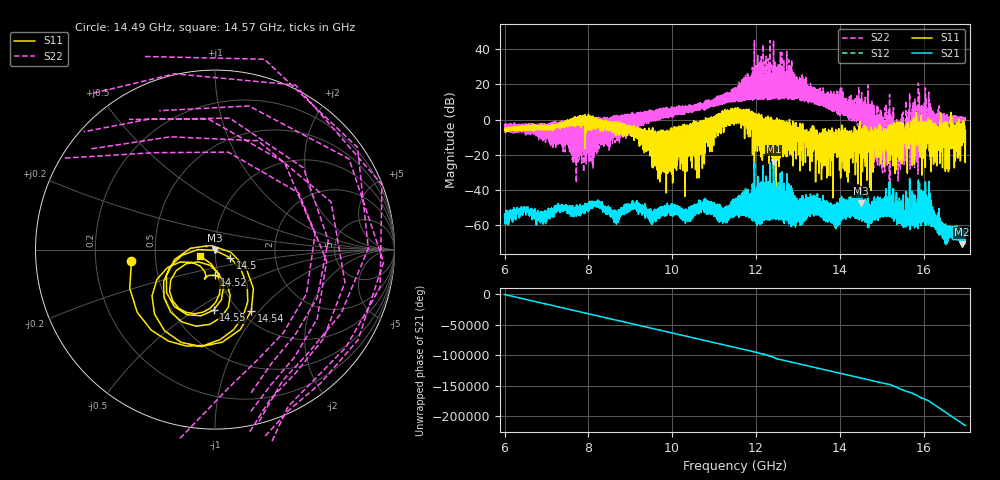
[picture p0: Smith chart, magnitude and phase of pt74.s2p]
#  HZ  S  RI  R  50.00
! Rohde & Schwarz Vector Network Analyzer
! Rohde-Schwarz,ZNA67-2Port,1332450062101215,3.01
! Created: UTC 10/16/2026, 2:22:52 PM
! freq[Hz]  re:S11  im:S11  re:S21  im:S21  re:S12  im:S12  re:S22  im:S22
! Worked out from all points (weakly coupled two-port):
!   11001 points, 6 GHz to 17 GHz, reference 50 ohm
!   highest |S21| = -23.82 dB at 12.42 GHz (marker M1); lowest = -70.7 dB at 16.91 GHz (marker M2)
!   lowest |S11| = -47.5 dB at 14.5 GHz (marker M3), VSWR 1.01, Z = 50 - j0.422 ohm
!   |S11| at or under -10 dB: 13.52806 GHz to 13.56834 GHz (40.28 MHz wide, 0.297 % of centre); 13.61183 GHz to 13.64771 GHz (35.88 MHz wide, 0.263 % of centre); 13.93448 GHz to 13.96266 GHz (28.18 MHz wide, 0.202 % of centre) (the widest 3 of 482)
!   |S22| runs from -39.2 to 44.9 dB; largest |S21 - S12| = 0.0034
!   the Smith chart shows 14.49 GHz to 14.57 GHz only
!   S11 on the Smith chart (normalised r, x): 14.49 GHz: 0.36, -0.06; 14.5 GHz: 1.18, -0.11; 14.52 GHz: 0.96, -0.28; 14.54 GHz: 1.12, -0.90; 14.55 GHz: 0.78, -0.60; 14.57 GHz: 0.84, -0.06
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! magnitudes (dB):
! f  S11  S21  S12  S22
! 6 GHz  -5.7  -53.5  -53.6  -3.6
! 7.834 GHz  -1.0  -50.9  -50.9  -0.2
! 9.667 GHz  -7.0  -52.3  -52.5  5.6
! 11.5 GHz  6.5  -51.3  -51.3  12.2
! 12.42 GHz  -14.2  -23.8  -23.7  44.9
! 13.33 GHz  -9.7  -51.6  -51.2  12.2
! 13.91 GHz  -10.7  -55.9  -55.2  6.0
! 14.49 GHz  -6.6  -51.1  -51.1  4.2
! 14.5 GHz  -20.5  -55.2  -55.1  0.3
! 14.5 GHz  -47.5  -56.1  -56.2  -1.0
! 14.52 GHz  -16.9  -53.4  -53.2  -0.2
! 14.54 GHz  -8.0  -53.5  -53.6  -2.2
! 14.55 GHz  -9.4  -56.0  -56.0  -0.7
! 14.57 GHz  -20.8  -46.9  -47.2  10.0
! 15.05 GHz  -5.3  -45.7  -45.9  -3.5
! 15.17 GHz  -14.2  -47.6  -48.1  -2.0
! 15.52 GHz  -10.6  -42.7  -43.7  4.3
! 15.8 GHz  -3.5  -57.6  -58.0  -1.9
! 16 GHz  -8.6  -55.5  -56.3  -4.2
! 16.5 GHz  -1.8  -64.2  -63.2  0.3
! 16.91 GHz  -9.3  -70.7  -70.9  -0.8
! 17 GHz  -6.2  -66.2  -66.4  0.7
